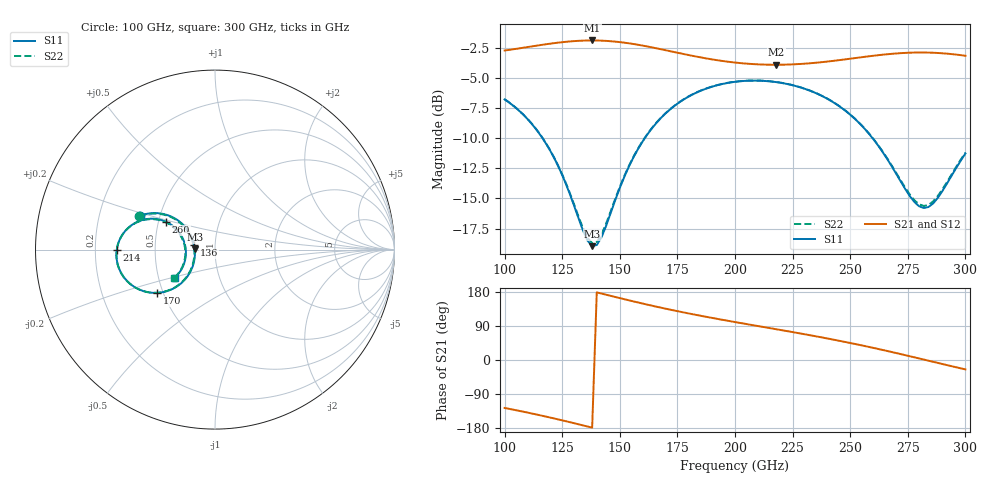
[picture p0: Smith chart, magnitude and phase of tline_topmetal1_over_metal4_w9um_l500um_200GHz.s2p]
#  GHZ S DB R 50
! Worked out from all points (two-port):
!   101 points, 100 GHz to 300 GHz, reference 50 ohm
!   highest |S21| = -1.84 dB at 138 GHz (marker M1); lowest = -3.9 dB at 218 GHz (marker M2)
!   |S21| within 3 dB of the highest: start of sweep to end of sweep
!   lowest |S11| = -19.0 dB at 138 GHz (marker M3), VSWR 1.25, Z = 39.9 + j0.106 ohm
!   |S11| at or under -10 dB: 116.5 GHz to 160.8 GHz (44.28 GHz wide, 31.9 % of centre); 259.8 GHz to end of sweep
!   |S22| runs from -18.7 to -5.2 dB; largest |S21 - S12| = 9e-14
!   S11 on the Smith chart (normalised r, x): 100 GHz: 0.38, +0.18; 136 GHz: 0.79, +0.04; 170 GHz: 0.46, -0.27; 214 GHz: 0.29, -0.00; 260 GHz: 0.55, +0.19; 300 GHz: 0.61, -0.21
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100  -6.75 155.9  -2.68 -126.6  -2.68 -126.6  -6.74 156.3
118  -10.44 142.7  -2.16 -149.4  -2.16 -149.4  -10.41 143.4
126  -13.50 142.6  -1.97 -160.7  -1.97 -160.7  -13.43 143.5
134  -17.65 158.6  -1.86 -172.5  -1.86 -172.5  -17.47 159.6
136  -18.51 167.9  -1.85 -175.5  -1.85 -175.5  -18.28 168.7
138  -18.97 179.3  -1.84 -178.6  -1.84 -178.6  -18.71 179.7
142  -18.26 -157.8  -1.86 175.4  -1.86 175.4  -18.03 -158.2
152  -13.18 -135.6  -2.03 160.4  -2.03 160.4  -13.11 -136.1
168  -8.27 -141.7  -2.58 137.9  -2.58 137.9  -8.25 -141.9
170  -7.89 -143.2  -2.66 135.3  -2.66 135.3  -7.87 -143.4
184  -6.12 -155.0  -3.21 118.0  -3.21 118.0  -6.11 -155.1
200  -5.29 -168.5  -3.68 100.2  -3.68 100.2  -5.28 -168.4
214  -5.23 -179.7  -3.86 85.3  -3.86 85.3  -5.22 -179.5
218  -5.31 177.2  -3.87 81.1  -3.87 81.1  -5.31 177.4
234  -6.14 165.1  -3.72 63.8  -3.72 63.8  -6.13 165.4
248  -7.71 155.5  -3.41 47.4  -3.41 47.4  -7.69 155.9
260  -10.05 150.4  -3.12 32.0  -3.12 32.0  -10.02 151.0
268  -12.31 152.1  -2.96 21.1  -2.96 21.1  -12.25 152.8
276  -14.84 164.0  -2.86 9.7  -2.86 9.7  -14.71 164.7
282  -15.79 -178.0  -2.85 1.1  -2.85 1.1  -15.62 -177.6
288  -14.95 -159.5  -2.89 -7.7  -2.89 -7.7  -14.80 -159.6
300  -11.26 -145.1  -3.12 -24.8  -3.12 -24.8  -11.18 -145.4
